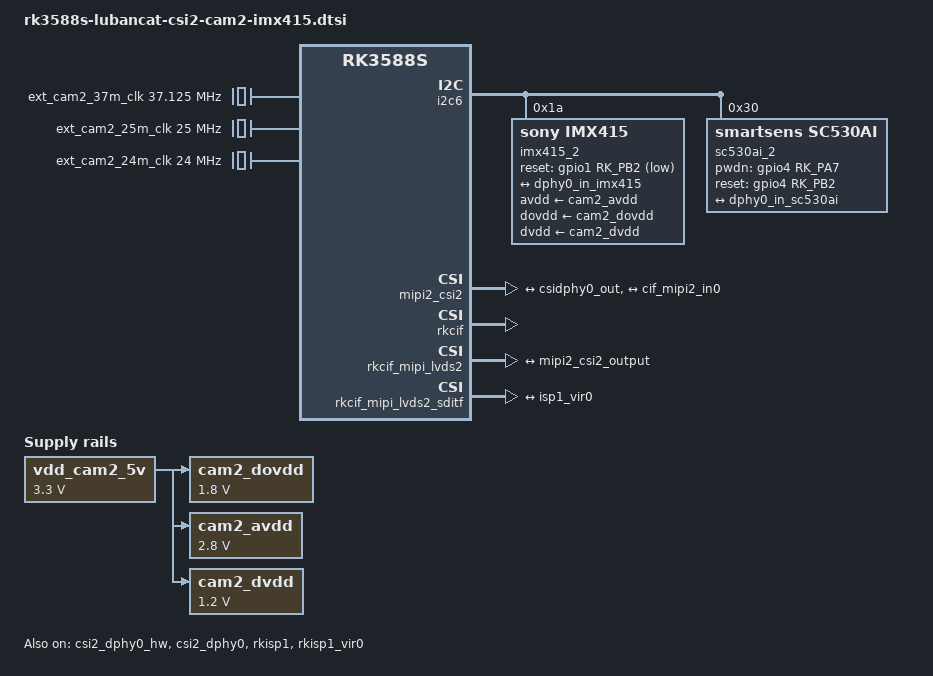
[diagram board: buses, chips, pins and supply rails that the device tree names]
// SPDX-License-Identifier: (GPL-2.0+ OR MIT)
/*
 * Copyright (c) 2020 Rockchip Electronics Co., Ltd.
 *
 */

/ {
	ext_cam2_37m_clk: external-camera-37m-clock {
		compatible = "fixed-clock";
		clock-frequency = <37125000>;
		clock-output-names = "ext_cam_37m_clk";
		#clock-cells = <0>;
	};

	ext_cam2_25m_clk: external-camera-25m-clock {
		compatible = "fixed-clock";
		clock-frequency = <25000000>;
		clock-output-names = "ext_cam_25m_clk";
		#clock-cells = <0>;
	};

	ext_cam2_24m_clk: external-camera-24m-clock {
		compatible = "fixed-clock";
		#clock-cells = <0>;
		clock-frequency = <24000000>;
		clock-output-names = "ext_cam_24m_clk";
	};

	vdd_cam2_5v: vdd-cam2-5v-regulator {
		compatible = "regulator-fixed";
		regulator-name = "vdd_cam_5v";
		regulator-always-on;
		regulator-boot-on;
		regulator-min-microvolt = <3300000>;
		regulator-max-microvolt = <3300000>;
	};

	cam2_dovdd: cam2-dovdd {
		compatible = "regulator-fixed";
		regulator-name = "cam_dovdd";
		regulator-always-on;
		regulator-boot-on;
		regulator-min-microvolt = <1800000>;
		regulator-max-microvolt = <1800000>;
		vin-supply = <&vdd_cam2_5v>;
	};

	cam2_avdd: cam2-avdd {
		compatible = "regulator-fixed";
		regulator-name = "cam_avdd";
		regulator-always-on;
		regulator-boot-on;
		regulator-min-microvolt = <2800000>;
		regulator-max-microvolt = <2800000>;
		vin-supply = <&vdd_cam2_5v>;
	};

	cam2_dvdd: cam2-dvdd {
		compatible = "regulator-fixed";
		regulator-name = "cam_dvdd";
		regulator-always-on;
		regulator-boot-on;
		regulator-min-microvolt = <1200000>;
		regulator-max-microvolt = <1200000>;
		vin-supply = <&vdd_cam2_5v>;
	};
};

/* Link path: sensor->csi2_dphy0->mipi2_csi2->rkcif_mipi_lvds2--->rkcif_mipi_lvds2_sditf->rkisp0_vir2 */
&i2c6 {
	status = "okay";
	pinctrl-names = "default";
	pinctrl-0 = <&i2c6m3_xfer>;

	imx415_2: imx415-2@1a {
		compatible = "sony,imx415";
		status = "okay";
		reg = <0x1a>;
		clocks = <&ext_cam2_37m_clk>;
		clock-names = "xvclk";
		avdd-supply = <&cam2_avdd>;
		dovdd-supply = <&cam2_dovdd>;
		dvdd-supply = <&cam2_dvdd>;
		reset-gpios = <&gpio1 RK_PB2 GPIO_ACTIVE_LOW>;

		rockchip,camera-module-index = <2>;
		rockchip,camera-module-facing = "back";
		rockchip,camera-module-name = "CMK-OT2022-PX1";
		rockchip,camera-module-lens-name = "IR0147-50IRC-8M-F20";
		port {
			imx415_out2: endpoint {
				remote-endpoint = <&dphy0_in_imx415>;
				data-lanes = <1 2 3 4>;
			};
		};
	};

	sc530ai_2: sc530ai-2@30 {
		compatible = "smartsens,sc530ai";
		status = "okay";
		reg = <0x30>;
		clocks = <&ext_cam2_24m_clk>;
		clock-names = "xvclk";
		pwdn-gpios = <&gpio4 RK_PA7 GPIO_ACTIVE_HIGH>;
		reset-gpios = <&gpio4 RK_PB2 GPIO_ACTIVE_HIGH>;

		rockchip,camera-module-index = <2>;
		rockchip,camera-module-facing = "back";
		rockchip,camera-module-name = "CMK-OT2115-PC1";
		rockchip,camera-module-lens-name = "30IRC-F16";
		port {
			sc530ai_out2: endpoint {
				remote-endpoint = <&dphy0_in_sc530ai>;
				data-lanes = <1 2 3 4>;
			};
		};
	};
};

&csi2_dphy0_hw {
	status = "okay";
};

&csi2_dphy0 {
	status = "okay";
	
	ports {
		#address-cells = <1>;
		#size-cells = <0>;

		port@0 {
			reg = <0>;
			#address-cells = <1>;
			#size-cells = <0>;

			dphy0_in_imx415: endpoint@0 {
				reg = <0>;
				remote-endpoint = <&imx415_out2>;
				data-lanes = <1 2 3 4>;
			};

			dphy0_in_sc530ai: endpoint@1 {
				reg = <1>;
				remote-endpoint = <&sc530ai_out2>;
				data-lanes = <1 2 3 4>;
			};
		};

		port@1 {
			reg = <1>;
			#address-cells = <1>;
			#size-cells = <0>;

			csidphy0_out: endpoint@0 {
				reg = <0>;
				remote-endpoint = <&mipi2_csi2_input>;
			};
		};
	};
};

&mipi2_csi2 {
	status = "okay";

	ports {
		#address-cells = <1>;
		#size-cells = <0>;

		port@0 {
			reg = <0>;
			#address-cells = <1>;
			#size-cells = <0>;

			mipi2_csi2_input: endpoint@1 {
				reg = <1>;
				remote-endpoint = <&csidphy0_out>;
			};
		};

		port@1 {
			reg = <1>;
			#address-cells = <1>;
			#size-cells = <0>;

			mipi2_csi2_output: endpoint@0 {
				reg = <0>;
				remote-endpoint = <&cif_mipi2_in0>;
			};
		};
	};
};

&rkcif {
	status = "okay";
};

&rkcif_mipi_lvds2 {
	status = "okay";

	port {
		cif_mipi2_in0: endpoint {
			remote-endpoint = <&mipi2_csi2_output>;
		};
	};
};

&rkcif_mipi_lvds2_sditf {
	status = "okay";

	port {
		mipi_lvds2_sditf: endpoint {
			remote-endpoint = <&isp1_vir0>;
		};
	};
};

&rkcif_mmu {
	status = "okay";
};

&rkisp1 {
	status = "okay";
};

&isp1_mmu {
	status = "okay";
};

&rkisp1_vir0 {
	status = "okay";

	port {
		#address-cells = <1>;
		#size-cells = <0>;

		isp1_vir0: endpoint@0 {
			reg = <0>;
			remote-endpoint = <&mipi_lvds2_sditf>;
		};
	};
};

